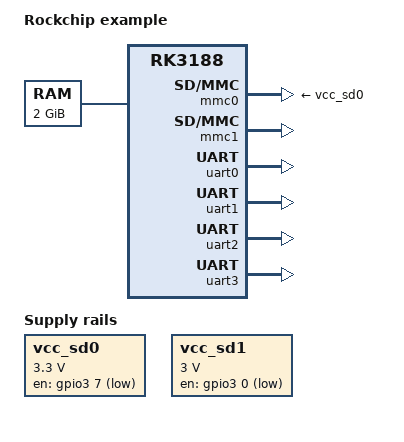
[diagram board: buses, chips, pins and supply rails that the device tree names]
/*
 * Copyright (c) 2013 Ulrich Prinz <ulrich.prinz@googlemail.com>
 *
 * This program is free software; you can redistribute it and/or modify
 * it under the terms of the GNU General Public License as published by
 * the Free Software Foundation; either version 2 of the License, or
 * (at your option) any later version.
 *
 * This program is distributed in the hope that it will be useful,
 * but WITHOUT ANY WARRANTY; without even the implied warranty of
 * MERCHANTABILITY or FITNESS FOR A PARTICULAR PURPOSE.  See the
 * GNU General Public License for more details.
 */
/dts-v1/;
#include "rk3188.dtsi"

/ {
	model = "Rockchip example";

	chosen {
		bootargs = "earlyprintk console=ttyS2,115200";
	};

	memory {
		reg = <0x60000000 0x80000000>;
	};

	vcc_sd0: sdmmc-regulator {
		compatible = "regulator-fixed";
		regulator-name = "sdmmc-supply";
		regulator-min-microvolt = <3300000>;
		regulator-max-microvolt = <3300000>;
		gpio = <&gpio3 7 GPIO_ACTIVE_LOW>;
		startup-delay-us = <100000>;
	};

	vcc_sd1: sdio-regulator {
		compatible = "regulator-fixed";
		regulator-name = "sdmmc-supply";
		regulator-min-microvolt = <3000000>;
		regulator-max-microvolt = <3000000>;
		gpio = <&gpio3 0 GPIO_ACTIVE_LOW>;
		startup-delay-us = <100000>;
	};
};

&mmc0 {
	num-slots = <1>;
	status = "okay";
	vmmc-supply = <&vcc_sd0>;

	slot@0 {
		reg = <0>;
		bus-width = <4>;
		disable-wp;
	};
};

&mmc1 { /* wifi */
	num-slots = <1>;
	status = "okay";

	pinctrl-names = "default";
	pinctrl-0 = <&sd1_clk &sd1_cmd &sd1_bus4>;

	slot@0 {
		reg = <0>;
		bus-width = <4>;
		disable-wp;
	};
};

&uart0 {
	status = "okay";
};

&uart1 {
	status = "okay";
};

&uart2 {
	status = "okay";
};

&uart3 {
	status = "okay";
};
